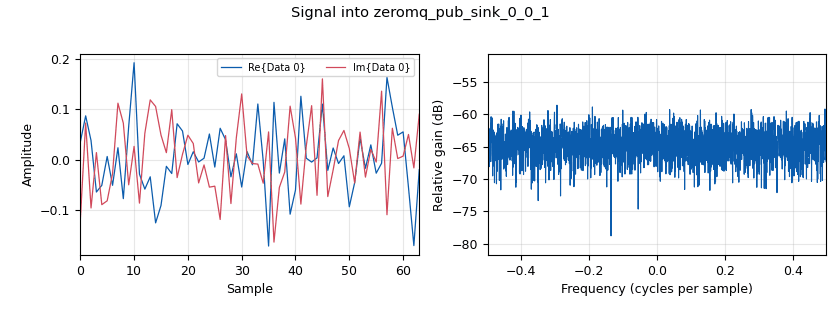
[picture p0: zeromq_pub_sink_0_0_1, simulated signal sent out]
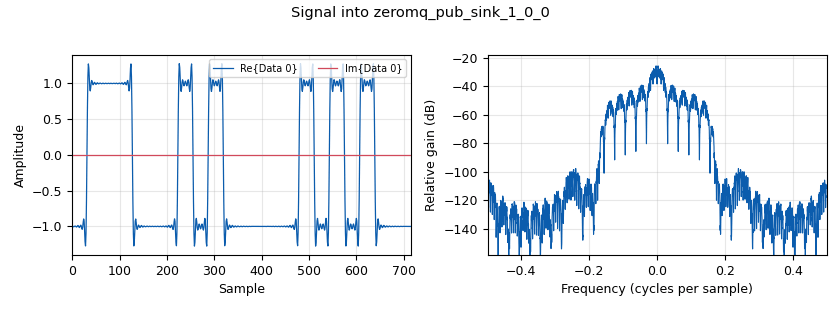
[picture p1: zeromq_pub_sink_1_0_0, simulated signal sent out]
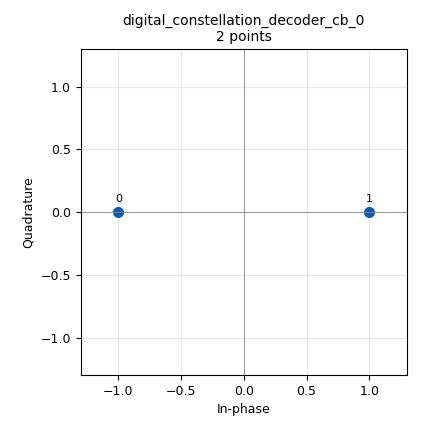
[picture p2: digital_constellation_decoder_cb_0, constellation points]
options:
  parameters:
    generate_options: no_gui
    id: SDR_to_SDR_BPSK_headless
    output_language: python
    run_options: run
    title: SDR_to_SDR_BPSK
  states: {}

blocks:
- name: arity
  id: variable
  parameters:
    value: '2'
  states: {}
- name: bpsk
  id: variable_constellation
  parameters:
    precision: '8'
    type: bpsk
  states: {}
- name: excess_bw
  id: variable
  parameters:
    value: '0.35'
  states: {}
- name: freq_offset
  id: variable
  parameters:
    value: '0'
  states: {state: disabled}
- name: nfilts
  id: variable
  parameters:
    value: '32'
  states: {}
- name: noise_volt
  id: variable
  parameters:
    value: '0.05'
  states: {state: disabled}
- name: phase_bw
  id: variable
  parameters:
    value: '0.0628'
  states: {state: disabled}
- name: rrc_taps
  id: variable
  parameters:
    value: firdes.root_raised_cosine(nfilts, nfilts, 1.0/float(sps), 0.35, 45*nfilts)
  states: {}
- name: rx_gain
  id: variable
  parameters:
    value: '10'
  states: {}
- name: samp_rate
  id: variable
  parameters:
    value: 2e6
  states: {}
- name: sps
  id: variable
  parameters:
    value: '4'
  states: {}
- name: taps
  id: variable
  parameters:
    value: '1'
  states: {state: disabled}
- name: time_offset
  id: variable
  parameters:
    value: '1'
  states: {state: disabled}
- name: timing_loop_bw
  id: variable
  parameters:
    value: '0.0628'
  states: {}
- name: tx_gain
  id: variable
  parameters:
    value: '0'
  states: {}
- name: analog_noise_source_x_0
  id: analog_noise_source_x
  parameters:
    amp: 0.01*(rx_gain+0.01)
    noise_type: analog.GR_GAUSSIAN
    seed: '0'
    type: complex
  states: {}
- name: analog_random_source_x_1
  id: analog_random_source_x
  parameters:
    max: '2'
    min: '0'
    num_samps: '1000'
    repeat: 'True'
    type: byte
  states: {}
- name: blocks_char_to_float_0
  id: blocks_char_to_float
  parameters:
    scale: '1'
  states: {}
- name: blocks_char_to_float_0_1
  id: blocks_char_to_float
  parameters:
    scale: '1'
  states: {}
- name: blocks_multiply_const_vxx_0
  id: blocks_multiply_const_vxx
  parameters:
    const: tx_gain+1
    type: complex
  states: {}
- name: blocks_null_sink_0
  id: blocks_null_sink
  parameters:
    type: byte
  states: {}
- name: blocks_repack_bits_bb_0
  id: blocks_repack_bits_bb
  parameters:
    endianness: gr.GR_LSB_FIRST
    k: '1'
    l: '8'
  states: {}
- name: digital_constellation_decoder_cb_0
  id: digital_constellation_decoder_cb
  parameters:
    constellation: bpsk
  states: {}
- name: digital_constellation_modulator_0_0
  id: digital_constellation_modulator
  parameters:
    constellation: bpsk
    differential: 'True'
    excess_bw: excess_bw
    samples_per_symbol: sps
  states: {}
- name: digital_correlate_access_code_xx_ts_0
  id: digital_correlate_access_code_xx_ts
  parameters:
    access_code: '01'
    threshold: '0'
    type: byte
  states: {}
- name: digital_costas_loop_cc_0
  id: digital_costas_loop_cc
  parameters:
    order: '2'
    w: timing_loop_bw
  states: {}
- name: digital_diff_decoder_bb_0
  id: digital_diff_decoder_bb
  parameters:
    coding: digital.DIFF_DIFFERENTIAL
    modulus: arity
  states: {}
- name: digital_map_bb_1
  id: digital_map_bb
  parameters:
    map: '[0,1]'
  states: {}
- name: digital_symbol_sync_xx_0
  id: digital_symbol_sync_xx
  parameters:
    damping: '1.0'
    loop_bw: '0.045'
    max_dev: '1.5'
    osps: '1'
    resamp_type: digital.IR_MMSE_8TAP
    sps: sps
    ted_gain: '1.0'
    ted_type: digital.TED_MUELLER_AND_MULLER
    type: cc
  states: {}
- name: uhd_usrp_sink_0_0
  id: uhd_usrp_sink
  parameters:
    ant0: '"TX/RX"'
    center_freq0: 100e6
    dev_addr: addr=192.168.10.2
    gain0: tx_gain
    samp_rate: samp_rate
    stream_chans: '[0]'
    sync: sync
    type: fc32
  states: {state: disabled}
- name: uhd_usrp_source_0
  id: uhd_usrp_source
  parameters:
    ant0: '"RX2"'
    center_freq0: 100e6
    dev_addr: ''
    gain0: rx_gain
    samp_rate: samp_rate
    stream_chans: '[0]'
    sync: sync
    type: fc32
  states: {state: disabled}
- name: xmlrpc_server_0
  id: xmlrpc_server
  parameters:
    addr: 0.0.0.0
    port: '8000'
  states: {}
- name: zeromq_pub_sink_0_0_1
  id: zeromq_pub_sink
  parameters:
    address: tcp://0.0.0.0:10001
    comment: frequency sink
    timeout: '100'
    type: complex
  states: {}
- name: zeromq_pub_sink_1_0_0
  id: zeromq_pub_sink
  parameters:
    address: tcp://0.0.0.0:10000
    comment: |-
      frequency sink
      time sink
      constellation sink
    timeout: '100'
    type: complex
  states: {}
- name: zeromq_pub_sink_1_1
  id: zeromq_pub_sink
  parameters:
    address: tcp://0.0.0.0:10002
    comment: constellation sink
    timeout: '100'
    type: complex
  states: {}
- name: zeromq_pub_sink_1_1_0
  id: zeromq_pub_sink
  parameters:
    address: tcp://0.0.0.0:10004
    comment: time sink
    timeout: '100'
    type: float
  states: {}
- name: zeromq_pub_sink_1_1_0_0
  id: zeromq_pub_sink
  parameters:
    address: tcp://0.0.0.0:10005
    comment: time sink
    timeout: '100'
    type: float
  states: {}
- name: zeromq_pub_sink_1_1_0_1
  id: zeromq_pub_sink
  parameters:
    address: tcp://0.0.0.0:10003
    comment: file sink
    timeout: '100'
    type: byte
  states: {}

connections:
- [analog_noise_source_x_0, '0', digital_costas_loop_cc_0, '0']
- [analog_noise_source_x_0, '0', zeromq_pub_sink_0_0_1, '0']
- [analog_random_source_x_1, '0', digital_constellation_modulator_0_0, '0']
- [blocks_char_to_float_0, '0', zeromq_pub_sink_1_1_0, '0']
- [blocks_char_to_float_0_1, '0', zeromq_pub_sink_1_1_0_0, '0']
- [blocks_multiply_const_vxx_0, '0', zeromq_pub_sink_1_0_0, '0']
- [blocks_repack_bits_bb_0, '0', blocks_null_sink_0, '0']
- [digital_constellation_decoder_cb_0, '0', digital_diff_decoder_bb_0, '0']
- [digital_constellation_modulator_0_0, '0', blocks_multiply_const_vxx_0, '0']
- [digital_constellation_modulator_0_0, '0', uhd_usrp_sink_0_0, '0']
- [digital_correlate_access_code_xx_ts_0, '0', blocks_char_to_float_0_1, '0']
- [digital_correlate_access_code_xx_ts_0, '0', blocks_repack_bits_bb_0, '0']
- [digital_costas_loop_cc_0, '0', digital_symbol_sync_xx_0, '0']
- [digital_diff_decoder_bb_0, '0', digital_map_bb_1, '0']
- [digital_map_bb_1, '0', blocks_char_to_float_0, '0']
- [digital_map_bb_1, '0', digital_correlate_access_code_xx_ts_0, '0']
- [digital_map_bb_1, '0', zeromq_pub_sink_1_1_0_1, '0']
- [digital_symbol_sync_xx_0, '0', digital_constellation_decoder_cb_0, '0']
- [digital_symbol_sync_xx_0, '0', zeromq_pub_sink_1_1, '0']
- [uhd_usrp_source_0, '0', digital_costas_loop_cc_0, '0']
- [uhd_usrp_source_0, '0', zeromq_pub_sink_0_0_1, '0']

metadata:
  file_format: 1
  grc_version: 3.6.1git-10128-g92f5e418
